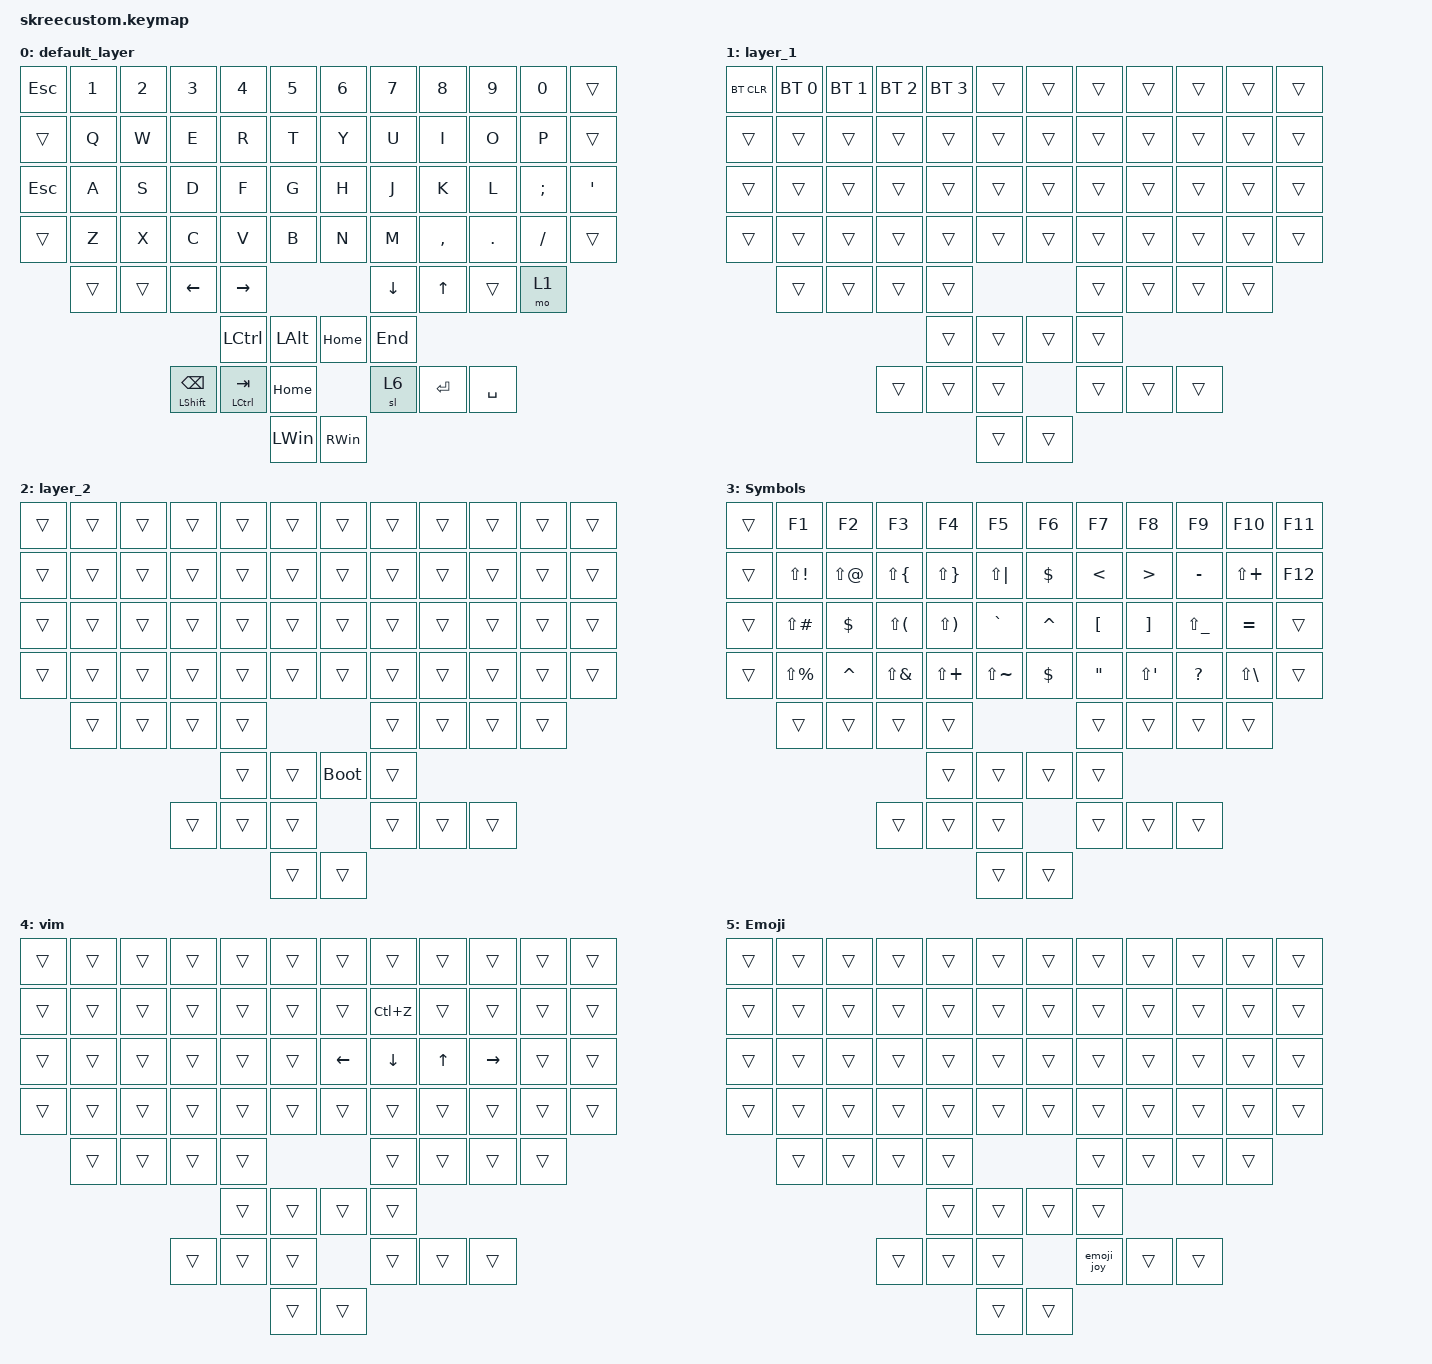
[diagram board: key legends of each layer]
/*
 * Copyright (c) 2020 The ZMK Contributors
 *
 * SPDX-License-Identifier: MIT
 */

#include <input/processors.dtsi>
#include <dt-bindings/zmk/input_transform.h>
#include <behaviors.dtsi>
#include <dt-bindings/zmk/bt.h>
#include <dt-bindings/zmk/keys.h>

/ {
    macros {
        emoji_joy: emoji_joy {
            compatible = "zmk,behavior-macro";
            #binding-cells = <0>;
            bindings = <&kp LC(LS(U)) &kp N1 &kp F &kp N6 &kp N0 &kp N2 &kp SPACE>;
            label = "😂";
            wait-ms = <0>;
            tap-ms = <10>;
        };
    };

    combos {
        compatible = "zmk,combos";

        combo_jk {
            bindings = <&kp ESCAPE>;
            key-positions = <31 32>;
            timeout-ms = <50>;
        };
    };

    behaviors {
        better_mt: better_mt {
            compatible = "zmk,behavior-hold-tap";
            label = "BETTER_MT";
            bindings = <&kp>, <&kp>;

            #binding-cells = <2>;
            tapping-term-ms = <200>;
            quick-tap-ms = <200>;
        };
        tap_repeat_multitap: tap_repeat_multitap {
            compatible = "zmk,behavior-hold-tap";
            label = "TAP_REPEAT_MULTITAP";
            bindings = <&kp>, <&kp>;
            #binding-cells = <2>;
            tapping-term-ms = <200>;
            quick-tap-ms = <175>;
        };
    };

    keymap {
        compatible = "zmk,keymap";

        default_layer {
            bindings = <
&kp ESC     &kp N1  &kp N2  &kp N3                           &kp N4         &kp N5          &kp N6         &kp N7       &kp N8        &kp N9   &kp N0      &trans
&trans      &kp Q   &kp W   &kp E                            &kp R          &kp T           &kp Y          &kp U        &kp I         &kp O    &kp P       &trans
&kp ESCAPE  &kp A   &kp S   &kp D                            &kp F          &kp G           &kp H          &kp J        &kp K         &kp L    &kp SEMI    &kp SINGLE_QUOTE
&trans      &kp Z   &kp X   &kp C                            &kp V          &kp B           &kp N          &kp M        &kp COMMA     &kp DOT  &kp FSLH    &trans
            &trans  &trans  &kp LEFT                         &kp RIGHT                                     &kp DOWN     &kp UP_ARROW  &trans   &mo 1
                                                             &kp LCTRL      &kp LALT        &kp HOME       &kp END
                            &tap_repeat_multitap LEFT_SHIFT BACKSPACE  &mt LCTRL TAB  &kp HOME        &sl 6          &kp ENTER    &kp SPACE
                                                                            &kp LEFT_WIN    &kp RIGHT_WIN
            >;
        };

        layer_1 {
            bindings = <
&bt BT_CLR  &bt BT_SEL 0  &bt BT_SEL 1  &bt BT_SEL 2  &bt BT_SEL 3  &trans    &trans  &trans  &trans  &trans  &trans  &trans
&trans      &trans        &trans        &trans        &trans        &trans    &trans  &trans  &trans  &trans  &trans  &trans
&trans      &trans        &trans        &trans        &trans        &trans    &trans  &trans  &trans  &trans  &trans  &trans
&trans      &trans        &trans        &trans        &trans        &trans    &trans  &trans  &trans  &trans  &trans  &trans
            &trans        &trans        &trans        &trans                          &trans  &trans  &trans  &trans
                                                      &trans        &trans    &trans  &trans
                                        &trans        &trans        &trans    &trans  &trans  &trans
                                                                    &trans    &trans
            >;
        };

        layer_2 {
            bindings = <
&trans  &trans  &trans  &trans  &trans  &trans    &trans       &trans  &trans  &trans  &trans  &trans
&trans  &trans  &trans  &trans  &trans  &trans    &trans       &trans  &trans  &trans  &trans  &trans
&trans  &trans  &trans  &trans  &trans  &trans    &trans       &trans  &trans  &trans  &trans  &trans
&trans  &trans  &trans  &trans  &trans  &trans    &trans       &trans  &trans  &trans  &trans  &trans
        &trans  &trans  &trans  &trans                         &trans  &trans  &trans  &trans
                                &trans  &trans    &bootloader  &trans
                        &trans  &trans  &trans    &trans       &trans  &trans
                                        &trans    &trans
            >;
        };


        Symbols {
            bindings = <
&trans  &kp F1         &kp F2      &kp F3        &kp F4        &kp F5           &kp F6      &kp F7             &kp F8                &kp F9         &kp F10            &kp F11
&trans  &kp LS(EXCL)   &kp LS(AT)  &kp LS(LBRC)  &kp LS(RBRC)  &kp LS(PIPE)     &kp DOLLAR  &kp LESS_THAN      &kp GREATER_THAN      &kp MINUS      &kp LS(PLUS)       &kp F12
&trans  &kp LS(POUND)  &kp DOLLAR  &kp LS(LPAR)  &kp LS(RPAR)  &kp GRAVE        &kp CARET   &kp LEFT_BRACKET   &kp RIGHT_BRACKET     &kp LS(UNDER)  &kp EQUAL          &trans
&trans  &kp LS(PRCNT)  &kp CARET   &kp LS(AMPS)  &kp LS(PLUS)  &kp LS(TILDE)    &kp DOLLAR  &kp DOUBLE_QUOTES  &kp LS(SINGLE_QUOTE)  &kp QUESTION   &kp LS(BACKSLASH)  &trans
        &trans         &trans      &trans        &trans                                     &trans             &trans                &trans         &trans
                                                 &trans        &trans           &trans      &trans
                                   &trans        &trans        &trans           &trans      &trans             &trans
                                                               &trans           &trans
            >;
        };

        vim {
            bindings = <
&trans  &trans  &trans  &trans  &trans  &trans    &trans          &trans     &trans  &trans     &trans  &trans
&trans  &trans  &trans  &trans  &trans  &trans    &trans          &kp LC(Z)  &trans  &trans     &trans  &trans
&trans  &trans  &trans  &trans  &trans  &trans    &kp LEFT_ARROW  &kp DOWN   &kp UP  &kp RIGHT  &trans  &trans
&trans  &trans  &trans  &trans  &trans  &trans    &trans          &trans     &trans  &trans     &trans  &trans
        &trans  &trans  &trans  &trans                            &trans     &trans  &trans     &trans
                                &trans  &trans    &trans          &trans
                        &trans  &trans  &trans    &trans          &trans     &trans
                                        &trans    &trans
            >;
        };

        Emoji {
            bindings = <
&trans  &trans  &trans  &trans  &trans  &trans    &trans      &trans  &trans  &trans  &trans  &trans
&trans  &trans  &trans  &trans  &trans  &trans    &trans      &trans  &trans  &trans  &trans  &trans
&trans  &trans  &trans  &trans  &trans  &trans    &trans      &trans  &trans  &trans  &trans  &trans
&trans  &trans  &trans  &trans  &trans  &trans    &trans      &trans  &trans  &trans  &trans  &trans
        &trans  &trans  &trans  &trans                        &trans  &trans  &trans  &trans
                                &trans  &trans    &trans      &trans
                        &trans  &trans  &trans    &emoji_joy  &trans  &trans
                                        &trans    &trans
            >;
        };
    };
};

// Input processor for tap repeat functionality
// Note: This would need to be properly configured based on your specific input device

